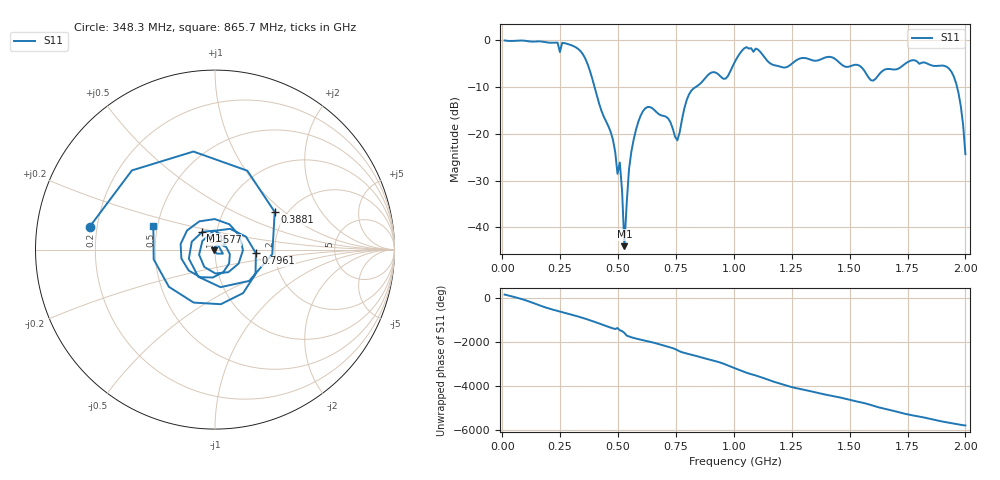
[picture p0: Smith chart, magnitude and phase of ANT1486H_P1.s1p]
!Created with skrf (http://scikit-rf.org).
# Hz S RI R 50.0
!freq ReS11 ImS11
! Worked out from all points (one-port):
!   201 points, 10 MHz to 2 GHz, reference 50 ohm
!   lowest |S11| = -44.0 dB at 527.4 MHz (marker M1), VSWR 1.01, Z = 49.5 - j0.312 ohm
!   |S11| at or under -10 dB: 398.6 MHz to 834.2 MHz (435.6 MHz wide, 70.7 % of centre); 1.964 GHz to end of sweep
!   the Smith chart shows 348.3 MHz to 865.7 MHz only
!   S11 on the Smith chart (normalised r, x): 348.3 MHz: 0.17, +0.09; 388.1 MHz: 1.73, +0.86; 457.8 MHz: 0.85, +0.17; 796 MHz: 1.59, -0.07; 865.7 MHz: 0.47, +0.14
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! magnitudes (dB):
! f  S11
! 10 MHz  0.0
! 248.8 MHz  -2.5
! 258.8 MHz  -0.5
! 348.3 MHz  -3.0
! 388.1 MHz  -8.1
! 457.8 MHz  -18.3
! 477.6 MHz  -21.2
! 497.6 MHz  -28.5
! 507.5 MHz  -26.1
! 517.5 MHz  -32.3
! 527.4 MHz  -44.0
! 547.3 MHz  -27.5
! 597 MHz  -16.1
! 636.9 MHz  -14.2
! 706.5 MHz  -16.3
! 756.2 MHz  -21.4
! 796 MHz  -12.8
! 865.7 MHz  -8.7
! 965.2 MHz  -8.2
! 1.005 GHz  -4.5
! 1.055 GHz  -1.4
! 1.254 GHz  -4.9
! 1.502 GHz  -5.5
! 1.602 GHz  -8.6
! 1.751 GHz  -4.6
! 1.94 GHz  -6.8
! 1.98 GHz  -14.0
! 2 GHz  -24.3
